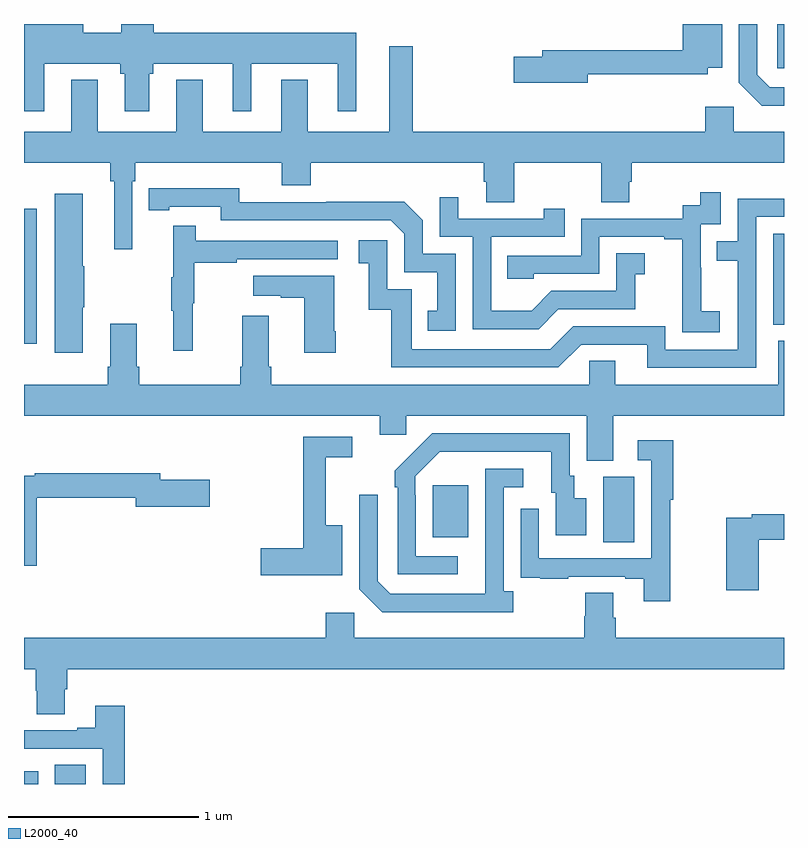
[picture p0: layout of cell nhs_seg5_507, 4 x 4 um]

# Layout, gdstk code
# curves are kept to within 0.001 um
import gdstk
lib = gdstk.Library(unit=1e-6, precision=1e-09)
def R(c, l, rs):  # rectangles x0, y0, x1, y1
    for r in rs: c.add(gdstk.rectangle(r[:2], r[2:], *l))
def P(c, l, *ps):  # polygons
    for p in ps: c.add(gdstk.Polygon(p, *l))
L2000_40 = (2000, 40)

nhs_seg5_507 = lib.new_cell('nhs_seg5_507')
R(nhs_seg5_507, L2000_40, [(143,878.799,143.074,878.866), (143.162,878.799,143.326,878.9), (146.048,880.072,146.212,880.416), (145.151,880.097,145.339,880.372), (143,881.117,143.067,881.827), (146.943,881.217,147,881.694), (146.964,882.567,147,882.799)])
P(nhs_seg5_507, L2000_40, [(143.107,882.59),(143.506,882.59),(143.506,882.537),(143.531,882.537),(143.531,882.339),(143.659,882.339),(143.659,882.537),(143.679,882.537),(143.679,882.59),(144.098,882.59),(144.098,882.339),(144.196,882.339),(144.196,882.59),(144.65,882.59),(144.65,882.339),(144.748,882.339),(144.748,882.754),(143.684,882.754),(143.684,882.799),(143.513,882.799),(143.513,882.754),(143.311,882.754),(143.311,882.799),(143,882.799),(143,882.339),(143.107,882.339)],
  [(145.966,882.534),(146.598,882.534),(146.598,882.569),(146.674,882.569),(146.674,882.799),(146.467,882.799),(146.467,882.662),(145.727,882.662),(145.727,882.626),(145.578,882.626),(145.578,882.491),(145.966,882.491)],
  [(147,882.465),(146.925,882.465),(146.859,882.531),(146.859,882.799),(146.763,882.799),(146.763,882.489),(146.884,882.368),(147,882.368)],
  [(143.571,881.972),(143.585,881.972),(143.585,882.068),(144.356,882.068),(144.356,881.951),(144.509,881.951),(144.509,882.068),(145.421,882.068),(145.421,881.97),(145.433,881.97),(145.433,881.86),(145.581,881.86),(145.581,882.068),(146.038,882.068),(146.038,881.86),(146.185,881.86),(146.185,881.97),(146.198,881.97),(146.198,882.068),(147,882.068),(147,882.232),(146.736,882.232),(146.736,882.364),(146.585,882.364),(146.585,882.232),(145.045,882.232),(145.045,882.682),(144.923,882.682),(144.923,882.232),(144.493,882.232),(144.493,882.505),(144.353,882.505),(144.353,882.232),(143.941,882.232),(143.941,882.505),(143.801,882.505),(143.801,882.232),(143.389,882.232),(143.389,882.505),(143.249,882.505),(143.249,882.232),(143,882.232),(143,882.068),(143.455,882.068),(143.455,881.972),(143.474,881.972),(143.474,881.613),(143.571,881.613)],
  [(145.272,881.589),(145.098,881.589),(145.098,881.766),(145,881.864),(144.592,881.864),(144.592,881.862),(144.132,881.862),(144.132,881.935),(143.656,881.934),(143.656,881.818),(143.764,881.818),(143.764,881.838),(144.036,881.838),(144.036,881.766),(144.93,881.766),(145.002,881.694),(145.002,881.493),(145.175,881.493),(145.175,881.289),(145.126,881.289),(145.126,881.184),(145.272,881.184)],
  [(146.662,881.287),(146.564,881.287),(146.564,881.516),(146.562,881.516),(146.562,881.745),(146.667,881.745),(146.667,881.914),(146.559,881.914),(146.559,881.844),(146.466,881.844),(146.466,881.775),(145.932,881.775),(145.932,881.58),(145.543,881.58),(145.543,881.457),(145.683,881.457),(145.683,881.484),(146.028,881.484),(146.028,881.679),(146.369,881.679),(146.369,881.667),(146.465,881.667),(146.465,881.383),(146.464,881.383),(146.464,881.177),(146.662,881.177)],
  [(143.308,881.308),(143.316,881.308),(143.316,881.525),(143.308,881.525),(143.308,881.905),(143.162,881.905),(143.162,881.07),(143.308,881.07)],
  [(145.813,881.298),(146.217,881.298),(146.217,881.483),(146.266,881.483),(146.266,881.593),(146.118,881.593),(146.118,881.394),(145.776,881.394),(145.672,881.29),(145.458,881.29),(145.458,881.679),(145.847,881.679),(145.847,881.827),(145.736,881.827),(145.736,881.775),(145.285,881.775),(145.285,881.887),(145.188,881.887),(145.188,881.679),(145.362,881.679),(145.362,881.193),(145.708,881.193)],
  [(146.853,881.784),(147,881.784),(147,881.88),(146.757,881.88),(146.757,881.655),(146.647,881.655),(146.647,881.554),(146.757,881.554),(146.757,881.085),(146.376,881.085),(146.376,881.208),(145.89,881.208),(145.77,881.088),(145.041,881.088),(145.041,881.403),(144.912,881.403),(144.912,881.662),(144.762,881.662),(144.762,881.541),(144.815,881.541),(144.815,881.295),(144.933,881.295),(144.933,880.992),(145.812,880.992),(145.932,881.112),(146.279,881.112),(146.279,880.989),(146.853,880.989)],
  [(143.888,881.328),(143.896,881.328),(143.896,881.542),(144.119,881.542),(144.119,881.562),(144.652,881.562),(144.652,881.658),(143.903,881.658),(143.903,881.737),(143.786,881.737),(143.786,881.465),(143.775,881.465),(143.775,881.291),(143.786,881.291),(143.786,881.079),(143.888,881.079)],
  [(144.642,881.182),(144.634,881.182),(144.634,881.473),(144.207,881.473),(144.207,881.369),(144.35,881.369),(144.35,881.359),(144.476,881.359),(144.476,881.07),(144.642,881.07)],
  [(146.101,880.736),(147,880.736),(147,881.132),(146.969,881.132),(146.969,880.9),(146.113,880.9),(146.113,881.027),(145.974,881.027),(145.974,880.9),(144.302,880.9),(144.302,880.996),(144.289,880.996),(144.289,881.263),(144.149,881.263),(144.149,880.996),(144.137,880.996),(144.137,880.9),(143.606,880.9),(143.606,880.996),(143.593,880.996),(143.593,881.221),(143.453,881.221),(143.453,880.996),(143.441,880.996),(143.441,880.9),(143,880.9),(143,880.736),(144.872,880.736),(144.872,880.638),(145.011,880.638),(145.011,880.736),(145.961,880.736),(145.961,880.501),(146.101,880.501)],
  [(145.282,879.999),(145.062,879.999),(145.062,880.319),(145.059,880.319),(145.059,880.419),(145.188,880.548),(145.775,880.548),(145.775,880.332),(145.799,880.332),(145.799,880.107),(145.96,880.107),(145.96,880.303),(145.897,880.303),(145.897,880.422),(145.872,880.422),(145.872,880.644),(145.148,880.644),(144.951,880.449),(144.951,880.361),(144.966,880.361),(144.966,879.903),(145.282,879.903)],
  [(144.676,880.162),(144.587,880.162),(144.587,880.518),(144.727,880.518),(144.727,880.626),(144.469,880.626),(144.469,880.04),(144.246,880.04),(144.246,879.898),(144.676,879.898)],
  [(146.402,880.296),(146.417,880.296),(146.417,880.609),(146.229,880.609),(146.229,880.503),(146.301,880.503),(146.301,879.987),(145.71,879.987),(145.71,880.249),(145.614,880.249),(145.614,879.994),(145.615,879.994),(145.615,879.885),(145.717,879.885),(145.717,879.879),(145.865,879.879),(145.865,879.891),(146.165,879.891),(146.165,879.879),(146.261,879.879),(146.261,879.762),(146.402,879.762)],
  [(145.576,879.814),(145.524,879.814),(145.524,880.362),(145.627,880.362),(145.627,880.458),(145.428,880.458),(145.427,879.801),(144.927,879.801),(144.861,879.867),(144.861,880.321),(144.765,880.321),(144.765,879.825),(144.886,879.704),(145.576,879.704)],
  [(143.068,880.306),(143.588,880.306),(143.588,880.259),(143.977,880.259),(143.977,880.401),(143.716,880.401),(143.716,880.435),(143.056,880.435),(143.056,880.422),(143,880.422),(143,879.947),(143.068,879.947)],
  [(146.867,880.084),(147,880.084),(147,880.22),(146.83,880.22),(146.83,880.2),(146.696,880.2),(146.696,879.819),(146.867,879.819)],
  [(143.215,879.298),(143.228,879.298),(143.228,879.404),(147,879.404),(147,879.568),(146.114,879.568),(146.114,879.674),(146.101,879.674),(146.101,879.806),(145.954,879.806),(145.954,879.681),(145.949,879.681),(145.949,879.568),(144.738,879.568),(144.738,879.7),(144.587,879.7),(144.587,879.568),(143,879.568),(143,879.404),(143.063,879.404),(143.063,879.291),(143.068,879.291),(143.068,879.166),(143.215,879.166)],
  [(143.531,879.211),(143.375,879.211),(143.375,879.094),(143.279,879.094),(143.279,879.081),(143,879.081),(143,878.985),(143.415,878.985),(143.415,878.799),(143.531,878.799)])

lib.write_gds('nhs_seg5_507.gds')
